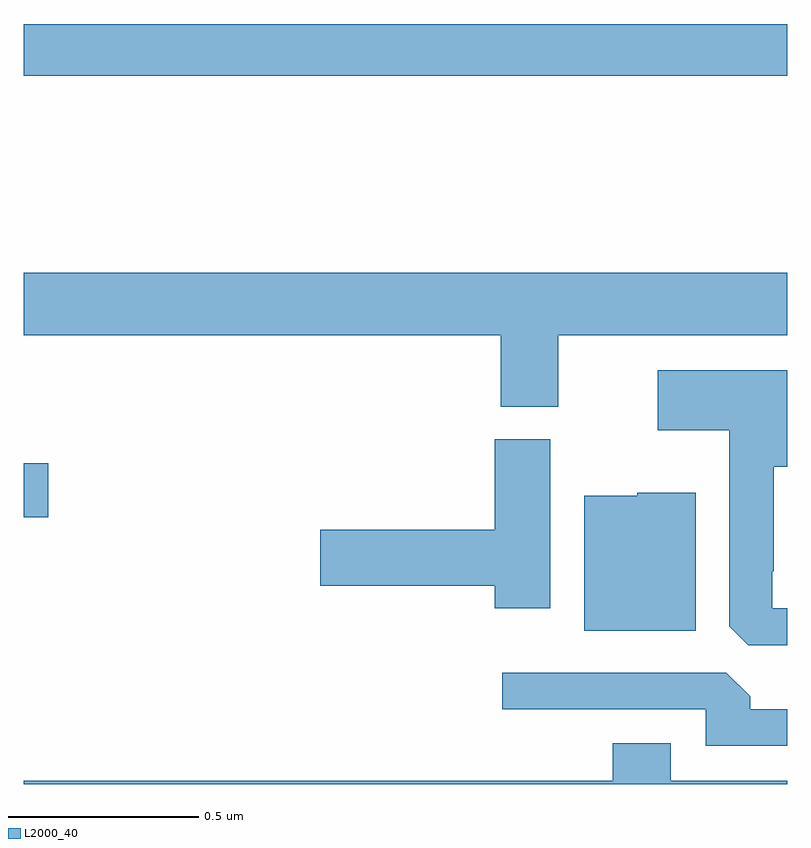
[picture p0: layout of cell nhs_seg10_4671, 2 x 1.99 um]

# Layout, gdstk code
import gdstk
lib = gdstk.Library(unit=1e-6, precision=1e-09)
def R(c, l, rs):  # rectangles x0, y0, x1, y1
    for r in rs: c.add(gdstk.rectangle(r[:2], r[2:], *l))
def P(c, l, *ps):  # polygons
    for p in ps: c.add(gdstk.Polygon(p, *l))
L2000_40 = (2000, 40)

nhs_seg10_4671 = lib.new_cell('nhs_seg10_4671')
R(nhs_seg10_4671, L2000_40, [(169,1273.199,169.063,1273.341), (169,1274.356,171,1274.492)])
P(nhs_seg10_4671, L2000_40, [(170.401,1273.676),(171,1273.676),(171,1273.84),(169,1273.84),(169,1273.676),(170.249,1273.676),(170.249,1273.489),(170.401,1273.489)],
  [(171,1272.96),(170.961,1272.96),(170.961,1273.057),(170.965,1273.057),(170.965,1273.331),(171,1273.331),(171,1273.585),(170.661,1273.585),(170.661,1273.427),(170.849,1273.427),(170.849,1272.913),(170.898,1272.864),(171,1272.864)],
  [(170.38,1273.404),(170.234,1273.404),(170.234,1273.166),(169.776,1273.166),(169.776,1273.019),(170.234,1273.019),(170.234,1272.96),(170.38,1272.96)],
  [(170.761,1273.264),(170.607,1273.264),(170.607,1273.255),(170.468,1273.255),(170.468,1272.902),(170.761,1272.902)],
  [(171,1272.696),(170.903,1272.696),(170.903,1272.73),(170.841,1272.792),(170.253,1272.792),(170.253,1272.696),(170.787,1272.696),(170.787,1272.6),(171,1272.6)],
  [(171,1272.508),(170.695,1272.508),(170.695,1272.607),(170.543,1272.607),(170.543,1272.508),(169,1272.508),(169,1272.5),(171,1272.5)])

lib.write_gds('nhs_seg10_4671.gds')
